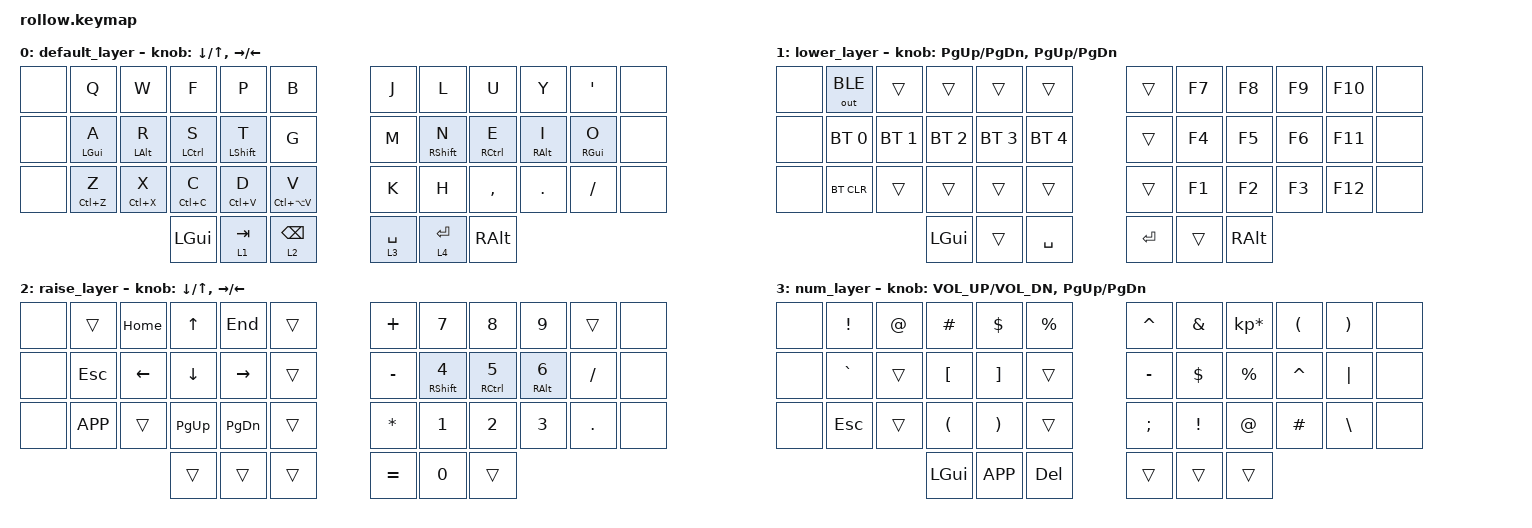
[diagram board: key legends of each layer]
/*
 * Copyright (c) 2020 The ZMK Contributors
 *
 * SPDX-License-Identifier: MIT
 */

#include <behaviors.dtsi>
#include <dt-bindings/zmk/keys.h>
#include <dt-bindings/zmk/bt.h>
#include <dt-bindings/zmk/outputs.h>

#define COL   0
#define COLL  1
#define COLR  2
#define NUMBER  3

/ {
        behaviors {
        tp: tap_mods {
            compatible = "zmk,behavior-hold-tap";
            label = "TAP_MODS";
            #binding-cells = <2>;
            tapping_term_ms = <200>;
            flavor = "tap-preferred";
            bindings = <&kp>, <&kp>;
                };
                hm: hm {
        compatible = "zmk,behavior-hold-tap";
        label = "hm";
        #binding-cells = <2>;
        tapping-term-ms = <150>;
        quick-tap-ms = <0>;
        flavor = "tap-preferred";
        bindings = <&kp>, <&kp>;
        };
          tm: tm {
        compatible = "zmk,behavior-hold-tap";
        label = "tm";
        #binding-cells = <2>;
        tapping-term-ms = <180>;
        quick-tap-ms = <0>;
        flavor = "tap-preferred";
        bindings = <&mo>, <&kp>;
        };
         };


        keymap {
                compatible = "zmk,keymap";

                default_layer {
/* Default
 * .-----------------------------------------.                    .-----------------------------------------.
 * | TAB  |   Q  |   W  |   F  |   P  |   B  |                    |   J  |   L  |   U  |   Y  |   '  | BKSP |
 * |------+------+------+------+------+------|                    |------+------+------+------+------+------|
 * | CTRL |   A  |   R  |   S  |   T  |   G  |                    |   M  |   N  |   E  |   I  |   O  | RET  |
 * |------+------+------+------+------+------|                    |------+------+------+------+------+------|
 * | SHFT |   Z  |   X  |   C  |   D  |   V  |-------.    .-------|   K  |   H  |   ,  |   .  |   /  | SHFT |
 * '-----------------------------------------/       /     \      \-----------------------------------------'
 *                          |  GUI |  LWR | / Space /       \ RET  \  |TT(RS)| Alt  |
 *                          |      |      |/       /         \      \ |      |      |
 *                          '-------------''------'           '------''-------------'
 *
 *   Encoder Left: Up <-> Down
 *   Encoder Right: Left <-> Right
 */
                        bindings = <
   &none   &kp Q &kp W &kp F &kp P &kp B   &kp J &kp L  &kp U     &kp Y   &kp SQT &none
   &none &hm LGUI A &hm LALT R &hm LCTRL S &hm LSHIFT T &kp G   &kp M &hm RSHIFT N  &hm RCTRL E     &hm RALT I   &hm RGUI O    &none
   &none &hm LC(Z) Z &hm LC(X) X &hm LC(C) C &hm LC(V) D &hm LC(LA(V)) V   &kp K &kp H  &kp COMMA &kp DOT &kp FSLH &none
                  &kp LGUI &tm 1 TAB &tm 2 BSPC   &tm 3 SPACE &tm 4 RET &kp RALT
                        >;

                        sensor-bindings = <&inc_dec_kp DOWN UP &inc_dec_kp RIGHT LEFT>;
                };

                lower_layer {
/* LOWER
 * .-----------------------------------------.                    .-----------------------------------------.
 * |  ESC |   1  |  2   |  3   |  4   |  5   |                    |   6  |   7  |   8  |   9  |   0  | BKSP |
 * |------+------+------+------+------+------|                    |------+------+------+------+------+------|
 * | BTCLR| BT1  | BT2  | BT3  | BT4  | BT5  |                    |  LFT |  DWN |   UP |  RGT |      |      |
 * |------+------+------+------+------+------|                    |------+------+------+------+------+------|
 * | SHFT |      |      |      |      |      |-------.    .-------|      |      |      |      |      |      |
 * '-----------------------------------------/       /     \      \-----------------------------------------'
 *                          |  GUI |      | / Space /       \ Enter\  |      |  ALT |
 *                          |      |      |/       /         \      \ |      |      |
 *                          '-------------''------'           '------''-------------'
 *
 *   Encoder Left: PG_UP <-> PG_DN
 *   Encoder Right: -
 */
                        bindings = <
   &none    &out OUT_BLE       &trans       &trans       &trans       &trans            &trans   &kp F7   &kp F8 &kp F9    &kp F10 &none
   &none &bt BT_SEL 0 &bt BT_SEL 1 &bt BT_SEL 2 &bt BT_SEL 3 &bt BT_SEL 4      &trans &kp F4 &kp F5 &kp F6 &kp F11 &none
   &none  &bt BT_CLR       &trans       &trans       &trans       &trans            &trans   &kp F1   &kp F2 &kp F3    &kp F12 &none
                                        &kp LGUI     &trans       &kp SPACE         &kp RET &trans &kp RALT
                            >;

                            sensor-bindings = <&inc_dec_kp PG_UP PG_DN &inc_dec_kp PG_UP PG_DN>;
                };

                raise_layer {
/* RAISE
 * .-----------------------------------------.                    .-----------------------------------------.
 * | ESC  |   !  |   @  |   #  |   $  |   %  |                    |   ^  |   &  |   *  |   (  |   )  | BKSP |
 * |------+------+------+------+------+------|                    |------+------+------+------+------+------|
 * | CTRL |      |      | Prev | Next |      |                    |   -  |   =  |   {  |   }  |  "|" |   `  |
 * |------+------+------+------+------+------|                    |------+------+------+------+------+------|
 * | SHFT |      |      |      |      |      |-------.    .-------|   _  |   +  |   [  |   ]  |   \  |   ~  |
 * '-----------------------------------------/       /     \      \-----------------------------------------'
 *                          | Play |      | / Space /       \ Enter\  |      |  ALT |
 *                          | Paus |      |/       /         \      \ |      |      |
 *                          '------------''------'            '------''-------------'
 *
 *   Encoder Left: -
 *   Encoder Right: VOL_UP <-> VOL_D
 */
                         bindings = <
  &none &trans   &kp HOME    &kp UP    &kp END    &trans      &kp PLUS    &kp N7    &kp N8     &kp N9   &trans &none
  &none &kp ESC   &kp LEFT    &kp DOWN    &kp RIGHT    &trans      &kp MINUS  &hm RSHIFT N4    &hm RCTRL N5     &hm RALT N6   &kp SLASH &none
  &none &kp K_APP   &trans    &kp PG_UP    &kp PG_DN    &trans      &kp STAR &kp N1    &kp N2     &kp N3   &kp DOT &none
                       &trans    &trans   &trans      &kp EQUAL    &kp N0    &trans
                        >;
                        sensor-bindings = <&inc_dec_kp DOWN UP &inc_dec_kp RIGHT LEFT>;
                };
                num_layer {
                        bindings = <
    &none  &kp EXCL  &kp AT  &kp HASH   &kp DLLR   &kp PRCNT   &kp CARET &kp AMPS  &kp KP_MULTIPLY &kp LPAR &kp RPAR &none
    &none &kp GRAVE   &trans  &kp LBKT &kp RBKT &trans      &kp MINUS &kp DLLR &kp PRCNT        &kp CARET &kp PIPE &none
    &none &kp ESC    &trans  &kp LPAR     &kp RPAR     &trans      &kp SEMI    &kp EXCL    &kp AT   &kp HASH   &kp BSLH &none
                                   &kp LGUI &kp K_APP &kp DEL   &trans &trans &trans
                        >;

                        sensor-bindings = <&inc_dec_kp C_VOL_UP C_VOL_DN &inc_dec_kp PG_UP PG_DN>;
                };

        };
};
